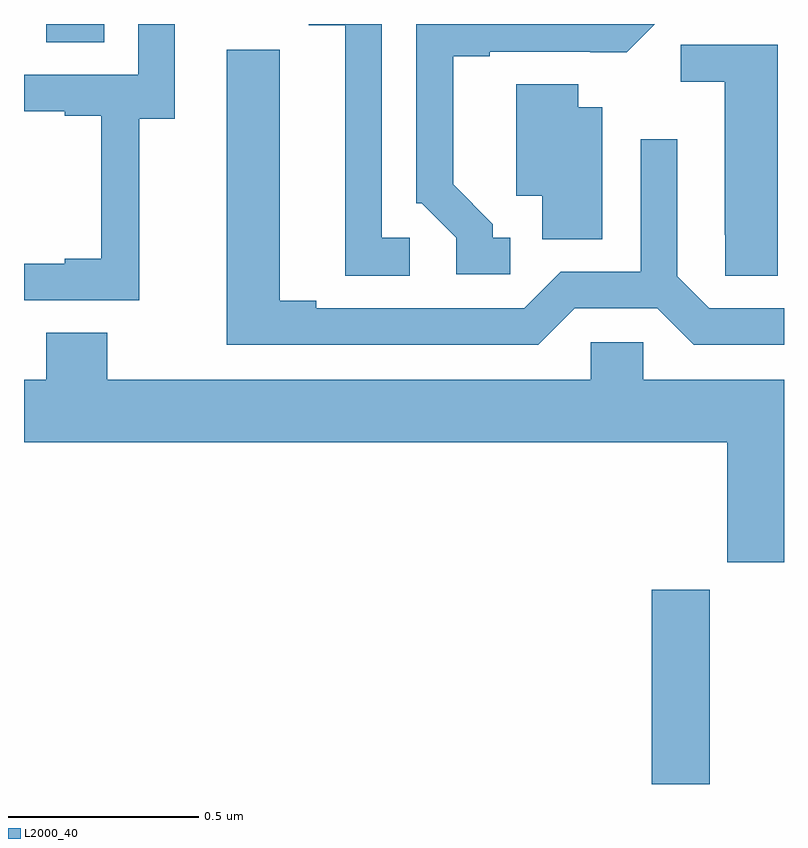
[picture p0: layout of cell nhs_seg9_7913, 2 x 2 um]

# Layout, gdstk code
import gdstk
lib = gdstk.Library(unit=1e-6, precision=1e-09)
def R(c, l, rs):  # rectangles x0, y0, x1, y1
    for r in rs: c.add(gdstk.rectangle(r[:2], r[2:], *l))
def P(c, l, *ps):  # polygons
    for p in ps: c.add(gdstk.Polygon(p, *l))
L2000_40 = (2000, 40)

nhs_seg9_7913 = lib.new_cell('nhs_seg9_7913')
R(nhs_seg9_7913, L2000_40, [(211.652,1215.5,211.804,1216.011), (210.059,1217.452,210.211,1217.5)])
P(nhs_seg9_7913, L2000_40, [(211.279,1216.938),(211.234,1216.938),(211.234,1216.973),(211.129,1217.078),(211.129,1217.415),(211.225,1217.415),(211.225,1217.427),(211.49,1217.427),(211.49,1217.426),(211.586,1217.426),(211.66,1217.5),(211.032,1217.5),(211.032,1217.028),(211.047,1217.028),(211.137,1216.938),(211.137,1216.842),(211.279,1216.842)],
  [(210.303,1217.251),(210.397,1217.251),(210.397,1217.5),(210.3,1217.5),(210.3,1217.367),(210,1217.367),(210,1217.271),(210.107,1217.271),(210.107,1217.259),(210.203,1217.259),(210.203,1216.882),(210.107,1216.882),(210.107,1216.869),(210,1216.869),(210,1216.773),(210.303,1216.773)],
  [(211.015,1216.938),(210.942,1216.938),(210.942,1217.5),(210.749,1217.5),(210.749,1217.497),(210.845,1217.497),(210.845,1216.837),(211.015,1216.837)],
  [(211.984,1217.445),(211.728,1217.445),(211.728,1217.348),(211.844,1217.348),(211.844,1216.945),(211.845,1216.945),(211.845,1216.837),(211.984,1216.837)],
  [(211.449,1216.752),(211.667,1216.752),(211.763,1216.656),(212,1216.656),(212,1216.752),(211.803,1216.752),(211.719,1216.836),(211.719,1217.197),(211.623,1217.197),(211.623,1216.848),(211.413,1216.848),(211.317,1216.752),(210.769,1216.752),(210.769,1216.772),(210.673,1216.772),(210.673,1217.432),(210.534,1217.432),(210.534,1217.324),(210.533,1217.324),(210.533,1216.656),(211.353,1216.656)],
  [(211.522,1217.281),(211.459,1217.281),(211.459,1217.342),(211.295,1217.342),(211.295,1217.048),(211.364,1217.048),(211.364,1216.933),(211.522,1216.933)],
  [(212,1216.564),(211.629,1216.564),(211.629,1216.662),(211.491,1216.662),(211.491,1216.564),(210.219,1216.564),(210.219,1216.688),(210.059,1216.688),(210.059,1216.564),(210,1216.564),(210,1216.4),(211.85,1216.4),(211.85,1216.083),(212,1216.083)])

lib.write_gds('nhs_seg9_7913.gds')
